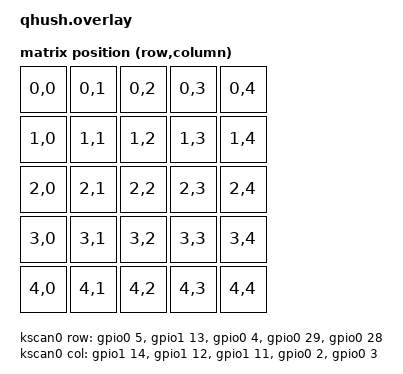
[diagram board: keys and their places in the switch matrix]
#include <dt-bindings/zmk/matrix_transform.h>
#include <physical_layouts.dtsi>
#include <dt-bindings/led/led.h>

/ {
    /* システム全体への指示 */
    chosen {
        zmk,physical-layout = &default_layout;
        zmk,underglow = &led_strip;
        zmk,matrix-transform = &default_transform;
    };

    vbatt: vbatt {
        status = "disabled";
    };

    /* 5x5 マトリックス変換 */
    default_transform: keymap_transform_0 {
        compatible = "zmk,matrix-transform";
        columns = <5>;
        rows = <5>;
        map = <
            RC(0,0) RC(0,1) RC(0,2) RC(0,3) RC(0,4)
            RC(1,0) RC(1,1) RC(1,2) RC(1,3) RC(1,4)
            RC(2,0) RC(2,1) RC(2,2) RC(2,3) RC(2,4)
            RC(3,0) RC(3,1) RC(3,2) RC(3,3) RC(3,4)
            RC(4,0) RC(4,1) RC(4,2) RC(4,3) RC(4,4)
        >;
    };

    /* 物理レイアウト定義 */
    physical_layouts {
        compatible = "zmk,physical-layouts";
        default_layout: default_layout {
            compatible = "zmk,physical-layout";
            display-name = "Default Layout";
            transform = <&default_transform>;
            kscan = <&kscan0>;
            
            keys
                = <&key_physical_attrs 100 100   0   0 0 0 0>, <&key_physical_attrs 100 100 100   0 0 0 0>, <&key_physical_attrs 100 100 200   0 0 0 0>, <&key_physical_attrs 100 100 300   0 0 0 0>, <&key_physical_attrs 100 100 400   0 0 0 0>
                , <&key_physical_attrs 100 100   0 100 0 0 0>, <&key_physical_attrs 100 100 100 100 0 0 0>, <&key_physical_attrs 100 100 200 100 0 0 0>, <&key_physical_attrs 100 100 300 100 0 0 0>, <&key_physical_attrs 100 100 400 100 0 0 0>
                , <&key_physical_attrs 100 100   0 200 0 0 0>, <&key_physical_attrs 100 100 100 200 0 0 0>, <&key_physical_attrs 100 100 200 200 0 0 0>, <&key_physical_attrs 100 100 300 200 0 0 0>, <&key_physical_attrs 100 100 400 200 0 0 0>
                , <&key_physical_attrs 100 100   0 300 0 0 0>, <&key_physical_attrs 100 100 100 300 0 0 0>, <&key_physical_attrs 100 100 200 300 0 0 0>, <&key_physical_attrs 100 100 300 300 0 0 0>, <&key_physical_attrs 100 100 400 300 0 0 0>
                , <&key_physical_attrs 100 100   0 400 0 0 0>, <&key_physical_attrs 100 100 100 400 0 0 0>, <&key_physical_attrs 100 100 200 400 0 0 0>, <&key_physical_attrs 100 100 300 400 0 0 0>, <&key_physical_attrs 100 100 400 400 0 0 0>
                ;
        };
    };
    /* キースイッチ配線設定（★正常化版★） */
    /*
    kscan0: kscan {
        compatible = "zmk,kscan-gpio-matrix";
        wakeup-source;
        diode-direction = "col2row";
    */
        /* 回路図通りのストレートなピンアサインに完全修正 */
     /*
        col-gpios
            = <&xiao_d  9 GPIO_ACTIVE_HIGH> // Col0 -> 回路図のD9 (P1.14)
            , <&xiao_d  7 GPIO_ACTIVE_HIGH> // Col1 -> D7 (P1.12)
            , <&xiao_d  6 GPIO_ACTIVE_HIGH> // Col2 -> D6 (P1.11)
            , <&xiao_d  0 GPIO_ACTIVE_HIGH> // Col3 -> D0 (P0.02)
            , <&xiao_d  1 GPIO_ACTIVE_HIGH> // Col4 -> D1 (P0.03)
            ;

        row-gpios
            = <&xiao_d  5 (GPIO_ACTIVE_HIGH | GPIO_PULL_DOWN)> // Row0 -> D5 (P0.05)
            , <&xiao_d  8 (GPIO_ACTIVE_HIGH | GPIO_PULL_DOWN)> // Row1 -> D8 (P1.13)
            , <&xiao_d  4 (GPIO_ACTIVE_HIGH | GPIO_PULL_DOWN)> // Row2 -> D4 (P0.04)
            , <&xiao_d  3 (GPIO_ACTIVE_HIGH | GPIO_PULL_DOWN)> // Row3 -> D3 (P0.29)
            , <&xiao_d  2 (GPIO_ACTIVE_HIGH | GPIO_PULL_DOWN)> // Row4 -> D2 (P0.28)
            ;
    };
    */
    /* キースイッチ配線設定（★限界突破・生ポート＆Active Low化安定版★） */
    kscan0: kscan {
        compatible = "zmk,kscan-gpio-matrix";
        wakeup-source;
        diode-direction = "row2col"; // ★論理を反転させ、Rowを出力、Colを入力に変更

        col-gpios
            = <&gpio1 14 (GPIO_ACTIVE_LOW | GPIO_PULL_UP)> // Col0 -> P1.14 (旧D9)
            , <&gpio1 12 (GPIO_ACTIVE_LOW | GPIO_PULL_UP)> // Col1 -> P1.12 (旧D7)
            , <&gpio1 11 (GPIO_ACTIVE_LOW | GPIO_PULL_UP)> // Col2 -> P1.11 (旧D6)
            , <&gpio0  2 (GPIO_ACTIVE_LOW | GPIO_PULL_UP)> // Col3 -> P0.02 (旧D0)
            , <&gpio0  3 (GPIO_ACTIVE_LOW | GPIO_PULL_UP)> // Col4 -> P0.03 (旧D1)
            ;

        row-gpios
            = <&gpio0  5 GPIO_ACTIVE_LOW> // Row0 -> P0.05 (旧D5)
            , <&gpio1 13 GPIO_ACTIVE_LOW> // Row1 -> P1.13 (旧D8)
            , <&gpio0  4 GPIO_ACTIVE_LOW> // Row2 -> P0.04 (旧D4)
            , <&gpio0 29 GPIO_ACTIVE_LOW> // Row3 -> P0.29 (旧D3)
            , <&gpio0 28 GPIO_ACTIVE_LOW> // Row4 -> P0.28 (旧D2)
            ;
    };
};

/* 未使用ペリフェラルの解放 */
&i2c0 { status = "disabled"; };
&i2c1 { status = "disabled"; };
&spi1 { status = "disabled"; };
&spi2 { status = "disabled"; };
&uart0 { status = "disabled"; };

/* Underglow LED設定 (D10ピンを安全に排他制御) */
&pinctrl {
    spi3_default: spi3_default {
        group1 {
            psels = <NRF_PSEL(SPIM_MOSI, 1, 15)>, // D10 (P1.15)
                    <NRF_PSEL(SPIM_SCK, 0, 9)>,
                    <NRF_PSEL(SPIM_MISO, 0, 10)>;
        };
    };
    spi3_sleep: spi3_sleep {
        group1 {
            psels = <NRF_PSEL(SPIM_MOSI, 1, 15)>,
                    <NRF_PSEL(SPIM_MOSI, 0, 9)>,
                    <NRF_PSEL(SPIM_MOSI, 0, 10)>;
            low-power-enable;
        };
    };
};

&spi3 {
    compatible = "nordic,nrf-spim";
    status = "okay";
    pinctrl-0 = <&spi3_default>;
    pinctrl-1 = <&spi3_sleep>;
    pinctrl-names = "default","sleep";
    
    led_strip: ws2812@0 {
        compatible = "worldsemi,ws2812-spi";
        reg = <0>;
        spi-max-frequency = <4000000>;
        chain-length = <4>;
        spi-one-frame = <0x70>;
        spi-zero-frame = <0x40>;
        color-mapping = <LED_COLOR_ID_GREEN
                         LED_COLOR_ID_RED
                         LED_COLOR_ID_BLUE>;
    };
};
